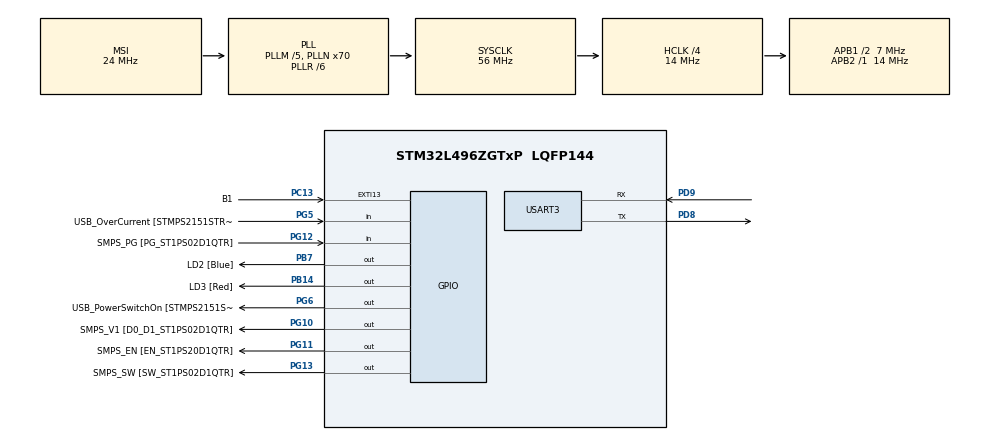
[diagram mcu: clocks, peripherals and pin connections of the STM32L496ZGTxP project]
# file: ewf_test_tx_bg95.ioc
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Mcu.Family=STM32L4
Mcu.Name=STM32L496ZGTxP
Mcu.Package=LQFP144
NVIC.PriorityGroup=NVIC_PRIORITYGROUP_4
NVIC.TIM6_DAC_IRQn=true\:15\:0\:false\:false\:true\:false\:false\:true\:true
NVIC.TimeBase=TIM6_DAC_IRQn
NVIC.TimeBaseIP=TIM6
NVIC.USART3_IRQn=true\:0\:0\:false\:false\:true\:false\:true\:true\:true
PA10.GPIO_Label=USB_ID
PA10.Signal=USB_OTG_FS_ID
PA11.GPIO_Label=USB_DM
PA11.Signal=USB_OTG_FS_DM
PA12.GPIO_Label=USB_DP
PA12.Signal=USB_OTG_FS_DP
PA13\ (JTMS/SWDIO).GPIO_Label=TMS
PA13\ (JTMS/SWDIO).Mode=Trace_Asynchronous_SW
PA13\ (JTMS/SWDIO).Signal=SYS_JTMS-SWDIO
PA14\ (JTCK/SWCLK).GPIO_Label=TCK
PA14\ (JTCK/SWCLK).Mode=Trace_Asynchronous_SW
PA14\ (JTCK/SWCLK).Signal=SYS_JTCK-SWCLK
PA8.GPIO_Label=USB_SOF [TP1]
PA8.Signal=USB_OTG_FS_SOF
PA9.GPIO_Label=USB_VBUS
PA9.Signal=USB_OTG_FS_VBUS
PB14.GPIO_Label=LD3 [Red]
PB14.Signal=GPIO_Output
PB3\ (JTDO/TRACESWO).GPIO_Label=SWO
PB3\ (JTDO/TRACESWO).Mode=Trace_Asynchronous_SW
PB3\ (JTDO/TRACESWO).Signal=SYS_JTDO-SWO
PB7.GPIO_Label=LD2 [Blue]
PB7.Signal=GPIO_Output
PC13.GPIO_Label=B1
PC13.Signal=GPXTI13
PC14-OSC32_IN\ (PC14).Mode=LSE-External-Oscillator
PC14-OSC32_IN\ (PC14).Signal=RCC_OSC32_IN
PC15-OSC32_OUT\ (PC15).Mode=LSE-External-Oscillator
PC15-OSC32_OUT\ (PC15).Signal=RCC_OSC32_OUT
PD8.GPIO_ModeDefaultPP=GPIO_MODE_AF_OD
PD8.GPIO_PuPd=GPIO_PULLUP
PD8.GPIO_Speed=GPIO_SPEED_FREQ_HIGH
PD8.Mode=Asynchronous
PD8.Signal=USART3_TX
PD9.GPIO_ModeDefaultPP=GPIO_MODE_AF_OD
PD9.GPIO_PuPd=GPIO_PULLUP
PD9.GPIO_Speed=GPIO_SPEED_FREQ_HIGH
PD9.Mode=Asynchronous
PD9.Signal=USART3_RX
PG10.GPIO_Label=SMPS_V1 [D0_D1_ST1PS02D1QTR]
PG10.Signal=GPIO_Output
PG11.GPIO_Label=SMPS_EN [EN_ST1PS20D1QTR]
PG11.Signal=GPIO_Output
PG12.GPIO_Label=SMPS_PG [PG_ST1PS02D1QTR]
PG12.Signal=GPIO_Input
PG13.GPIO_Label=SMPS_SW [SW_ST1PS02D1QTR]
PG13.Signal=GPIO_Output
PG5.GPIO_Label=USB_OverCurrent [STMPS2151STR_FAULT]
PG5.Signal=GPIO_Input
PG6.GPIO_Label=USB_PowerSwitchOn [STMPS2151STR_EN]
PG6.Signal=GPIO_Output
PG7.GPIO_Label=STLK_RX [STM32F103CBT6_PA3]
PG7.Signal=LPUART1_TX
PG8.GPIO_Label=STLK_TX [STM32F103CBT6_PA2]
PG8.Signal=LPUART1_RX
PH0-OSC_IN\ (PH0).GPIO_Label=MCO
PH0-OSC_IN\ (PH0).Signal=RCC_OSC_IN
PH1-OSC_OUT\ (PH1).Signal=RCC_OSC_OUT
ProjectManager.HeapSize=0x200
ProjectManager.StackSize=0x400
ProjectManager.TargetToolchain=STM32CubeIDE
RCC.48MHZClocksFreq_Value=24000000
RCC.ADCFreq_Value=48000000
RCC.AHBCLKDivider=RCC_SYSCLK_DIV4
RCC.AHBFreq_Value=14000000
RCC.APB1CLKDivider=RCC_HCLK_DIV2
RCC.APB1Freq_Value=7000000
RCC.APB1TimFreq_Value=14000000
RCC.APB2Freq_Value=14000000
RCC.APB2TimFreq_Value=14000000
RCC.CortexFreq_Value=14000000
RCC.HCLKFreq_Value=14000000
RCC.HSE_VALUE=8000000
RCC.HSI48_VALUE=48000000
RCC.HSI_VALUE=16000000
RCC.MSIAutoCalibration=ENABLED
RCC.MSIClockRange=RCC_MSIRANGE_9
RCC.MSI_VALUE=24000000
RCC.PLLM=5
RCC.PLLMUL=RCC_PLL_MUL9
RCC.PLLN=70
RCC.PLLR=RCC_PLLR_DIV6
RCC.PLLSAI1N=20
RCC.PRESCALERUSB=RCC_USBCLKSOURCE_PLL_DIV1_5
RCC.SYSCLKFreq_VALUE=56000000
RCC.SYSCLKSource=RCC_SYSCLKSOURCE_PLLCLK
RCC.SYSCLKSourceVirtual=RCC_SYSCLKSOURCE_PLLCLK
RCC.USBFreq_Value=48000000
RCC.VCOOutputFreq_Value=336000000
STMicroelectronics.X-CUBE-AZRTOS-L4.1.0.0.TX_APP_MEM_POOL_SIZE=512
STMicroelectronics.X-CUBE-AZRTOS-L4.1.0.0.TX_ENABLE_STACK_CHECKING=1
STMicroelectronics.X-CUBE-AZRTOS-L4.1.0.0.ThreadXCcRTOSJjThreadXJjCore=true
STMicroelectronics.X-CUBE-AZRTOS-L4.1.0.0.ThreadXCcRTOSJjThreadXJjLowOoPowerOosupport=true
STMicroelectronics.X-CUBE-AZRTOS-L4.1.0.0.ThreadXCcRTOSJjThreadXJjPerformanceInfo=true
STMicroelectronics.X-CUBE-AZRTOS-L4.1.0.0.ThreadXCcRTOSJjThreadXJjTraceXOosupport=true
STMicroelectronics.X-CUBE-AZRTOS-L4.1.0.0_IsAnAzureRtosMw=true
USART3.SwapParam=ADVFEATURE_SWAP_DISABLE
USART3.VirtualMode-Asynchronous=VM_ASYNC
VP_STMicroelectronics.X-CUBE-AZRTOS-L4_VS_RTOSJjThreadX_6.1.7_1.0.0.Mode=RTOSJjThreadX
VP_SYS_VS_tim6.Mode=TIM6
board=NUCLEO-L496ZG-P

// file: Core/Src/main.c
/* USER CODE BEGIN Header */
/**
  ******************************************************************************
  * @file           : main.c
  * @brief          : Main program body
  ******************************************************************************
  * @attention
  *
  * Copyright (c) 2022 STMicroelectronics.
  * All rights reserved.
  *
  * This software is licensed under terms that can be found in the LICENSE file
  * in the root directory of this software component.
  * If no LICENSE file comes with this software, it is provided AS-IS.
  *
  ******************************************************************************
  */
/* USER CODE END Header */
#include "main.h"
#include "app_threadx.h"

/* USER CODE BEGIN Includes */

#include <stdio.h>

#include "ewf_lib.c"
#include "ewf_platform_threadx.c"
#include "ewf_allocator.c"
#include "ewf_allocator_threadx.c"
#include "ewf_interface.c"
#include "ewf_interface_stm32_uart.c"
#include "ewf_adapter.c"
#include "ewf_adapter_api_control.c"
#include "ewf_adapter_api_info.c"
#include "ewf_adapter_api_tls_basic.c"
#include "ewf_adapter_api_mqtt_basic.c"
#include "ewf_adapter_api_tcp.c"
#include "ewf_adapter_api_udp.c"
#include "ewf_adapter_api_modem.c"
#include "ewf_adapter_api_modem_general.c"
#include "ewf_adapter_api_modem_network_service.c"
#include "ewf_adapter_api_modem_packet_domain.c"
#include "ewf_adapter_api_modem_sim_utility.c"
#include "ewf_adapter_api_modem_sms.c"
#include "ewf_adapter_quectel_bg95.c"
#include "test/ewf_adapter_quectel_bg95_test.c"

#include "ewf_example.config.h"

/* USER CODE END Includes */

/* USER CODE BEGIN PTD */

#if defined ( __GNUC__) && !defined(__clang__)
/* With GCC, small printf (option LD Linker->Libraries->Small printf
   set to 'Yes') calls __io_putchar() */
#define PUTCHAR_PROTOTYPE int __io_putchar(int ch)
#else
#define PUTCHAR_PROTOTYPE int fputc(int ch, FILE *f)
#endif /* __GNUC__ */

/* USER CODE END PTD */

UART_HandleTypeDef huart3;

void SystemClock_Config(void);
static void MX_GPIO_Init(void);
static void MX_USART3_UART_Init(void);

/* USER CODE BEGIN 0 */

/**
* @brief  Retargets the C library printf function to the USART.
* @param  None
* @retval None
*/

PUTCHAR_PROTOTYPE
{
    /* Place your implementation of fputc here */
    /* e.g. write a character to the USART1 and Loop until the end of transmission */
	ITM_SendChar(ch);
    return ch;
}

void thread_sample_entry(ULONG thread_input)
{
    ewf_result result;

    ewf_allocator* message_allocator_ptr = NULL;
    ewf_interface* interface_ptr = NULL;
    ewf_adapter* adapter_ptr = NULL;

    EWF_LOG("\nStarting...\n");

    EWF_ALLOCATOR_THREADX_STATIC_DECLARE(message_allocator_ptr, message_allocator,
		EWF_CONFIG_MESSAGE_ALLOCATOR_BLOCK_COUNT,
		EWF_CONFIG_MESSAGE_ALLOCATOR_BLOCK_SIZE);
    EWF_INTERFACE_STM32_UART_STATIC_DECLARE(interface_ptr, stm32_uart_port, &huart3);
    EWF_ADAPTER_QUECTEL_BG95_STATIC_DECLARE(adapter_ptr, quectel_bg95, message_allocator_ptr, NULL, interface_ptr);

    // Start the adapter
    if (ewf_result_failed(result = ewf_adapter_start(adapter_ptr)))
    {
        EWF_LOG_ERROR("Failed to start the adapter, ewf_result %d.\n", result);
        exit(result);
    }

    // Set the SIM PIN
    if (ewf_result_failed(result = ewf_adapter_modem_sim_pin_enter(adapter_ptr, EWF_CONFIG_SIM_PIN)))
    {
        EWF_LOG_ERROR("Failed to the SIM PIN, ewf_result %d.\n", result);
        exit(result);
    }

    // Set the ME functionality
    if (ewf_result_failed(result = ewf_adapter_modem_functionality_set(adapter_ptr, EWF_ADAPTER_MODEM_FUNCTIONALITY_FULL)))
    {
        EWF_LOG_ERROR("Failed to the ME functionality, ewf_result %d.\n", result);
        exit(result);
    }

    // Run the adapter tests
    if (ewf_result_failed(result = ewf_adapter_quectel_bg95_test(adapter_ptr)))
    {
        EWF_LOG_ERROR("Failed to run the adapter test, ewf_result %d.\n", result);
    }

    EWF_LOG("\nDone!\n");

    // Stay here forever
    while (1)
    {
    	EWF_LOG(".");
        tx_thread_sleep(TX_TIMER_TICKS_PER_SECOND);
    }
}

/* USER CODE END 0 */

int main(void)
{

  /* MCU Configuration--------------------------------------------------------*/

  /* Reset of all peripherals, Initializes the Flash interface and the Systick. */
  HAL_Init();

  /* Configure the system clock */
  SystemClock_Config();

  /* Initialize all configured peripherals */
  MX_GPIO_Init();
  MX_USART3_UART_Init();

  MX_ThreadX_Init();

  /* We should never get here as control is now taken by the scheduler */
  /* Infinite loop */
  while (1)
  {

  }
}

void SystemClock_Config(void)
{
  RCC_OscInitTypeDef RCC_OscInitStruct = {0};
  RCC_ClkInitTypeDef RCC_ClkInitStruct = {0};

  /** Configure the main internal regulator output voltage
  */
  if (HAL_PWREx_ControlVoltageScaling(PWR_REGULATOR_VOLTAGE_SCALE1) != HAL_OK)
  {
    Error_Handler();
  }

  /** Initializes the RCC Oscillators according to the specified parameters
  * in the RCC_OscInitTypeDef structure.
  */
  RCC_OscInitStruct.OscillatorType = RCC_OSCILLATORTYPE_MSI;
  RCC_OscInitStruct.MSIState = RCC_MSI_ON;
  RCC_OscInitStruct.MSICalibrationValue = 0;
  RCC_OscInitStruct.MSIClockRange = RCC_MSIRANGE_9;
  RCC_OscInitStruct.PLL.PLLState = RCC_PLL_ON;
  RCC_OscInitStruct.PLL.PLLSource = RCC_PLLSOURCE_MSI;
  RCC_OscInitStruct.PLL.PLLM = 5;
  RCC_OscInitStruct.PLL.PLLN = 70;
  RCC_OscInitStruct.PLL.PLLP = RCC_PLLP_DIV2;
  RCC_OscInitStruct.PLL.PLLQ = RCC_PLLQ_DIV2;
  RCC_OscInitStruct.PLL.PLLR = RCC_PLLR_DIV6;
  if (HAL_RCC_OscConfig(&RCC_OscInitStruct) != HAL_OK)
  {
    Error_Handler();
  }

  /** Initializes the CPU, AHB and APB buses clocks
  */
  RCC_ClkInitStruct.ClockType = RCC_CLOCKTYPE_HCLK|RCC_CLOCKTYPE_SYSCLK
                              |RCC_CLOCKTYPE_PCLK1|RCC_CLOCKTYPE_PCLK2;
  RCC_ClkInitStruct.SYSCLKSource = RCC_SYSCLKSOURCE_PLLCLK;
  RCC_ClkInitStruct.AHBCLKDivider = RCC_SYSCLK_DIV4;
  RCC_ClkInitStruct.APB1CLKDivider = RCC_HCLK_DIV2;
  RCC_ClkInitStruct.APB2CLKDivider = RCC_HCLK_DIV1;

  if (HAL_RCC_ClockConfig(&RCC_ClkInitStruct, FLASH_LATENCY_0) != HAL_OK)
  {
    Error_Handler();
  }
}

static void MX_USART3_UART_Init(void)
{

  huart3.Instance = USART3;
  huart3.Init.BaudRate = 115200;
  huart3.Init.WordLength = UART_WORDLENGTH_8B;
  huart3.Init.StopBits = UART_STOPBITS_1;
  huart3.Init.Parity = UART_PARITY_NONE;
  huart3.Init.Mode = UART_MODE_TX_RX;
  huart3.Init.HwFlowCtl = UART_HWCONTROL_NONE;
  huart3.Init.OverSampling = UART_OVERSAMPLING_16;
  huart3.Init.OneBitSampling = UART_ONE_BIT_SAMPLE_DISABLE;
  huart3.AdvancedInit.AdvFeatureInit = UART_ADVFEATURE_NO_INIT;
  if (HAL_UART_Init(&huart3) != HAL_OK)
  {
    Error_Handler();
  }

}

static void MX_GPIO_Init(void)
{
  GPIO_InitTypeDef GPIO_InitStruct = {0};

  /* GPIO Ports Clock Enable */
  __HAL_RCC_GPIOC_CLK_ENABLE();
  __HAL_RCC_GPIOH_CLK_ENABLE();
  __HAL_RCC_GPIOB_CLK_ENABLE();
  __HAL_RCC_GPIOD_CLK_ENABLE();
  __HAL_RCC_GPIOG_CLK_ENABLE();
  HAL_PWREx_EnableVddIO2();
  __HAL_RCC_GPIOA_CLK_ENABLE();

  /*Configure GPIO pin Output Level */
  HAL_GPIO_WritePin(GPIOB, LD3_Pin|LD2_Pin, GPIO_PIN_RESET);

  /*Configure GPIO pin Output Level */
  HAL_GPIO_WritePin(GPIOG, USB_PowerSwitchOn_Pin|SMPS_V1_Pin|SMPS_EN_Pin|SMPS_SW_Pin, GPIO_PIN_RESET);

  /*Configure GPIO pin : B1_Pin */
  GPIO_InitStruct.Pin = B1_Pin;
  GPIO_InitStruct.Mode = GPIO_MODE_IT_RISING;
  GPIO_InitStruct.Pull = GPIO_NOPULL;
  HAL_GPIO_Init(B1_GPIO_Port, &GPIO_InitStruct);

  /*Configure GPIO pins : LD3_Pin LD2_Pin */
  GPIO_InitStruct.Pin = LD3_Pin|LD2_Pin;
  GPIO_InitStruct.Mode = GPIO_MODE_OUTPUT_PP;
  GPIO_InitStruct.Pull = GPIO_NOPULL;
  GPIO_InitStruct.Speed = GPIO_SPEED_FREQ_LOW;
  HAL_GPIO_Init(GPIOB, &GPIO_InitStruct);

  /*Configure GPIO pins : USB_OverCurrent_Pin SMPS_PG_Pin */
  GPIO_InitStruct.Pin = USB_OverCurrent_Pin|SMPS_PG_Pin;
  GPIO_InitStruct.Mode = GPIO_MODE_INPUT;
  GPIO_InitStruct.Pull = GPIO_NOPULL;
  HAL_GPIO_Init(GPIOG, &GPIO_InitStruct);

  /*Configure GPIO pins : USB_PowerSwitchOn_Pin SMPS_V1_Pin SMPS_EN_Pin SMPS_SW_Pin */
  GPIO_InitStruct.Pin = USB_PowerSwitchOn_Pin|SMPS_V1_Pin|SMPS_EN_Pin|SMPS_SW_Pin;
  GPIO_InitStruct.Mode = GPIO_MODE_OUTPUT_PP;
  GPIO_InitStruct.Pull = GPIO_NOPULL;
  GPIO_InitStruct.Speed = GPIO_SPEED_FREQ_LOW;
  HAL_GPIO_Init(GPIOG, &GPIO_InitStruct);

  /*Configure GPIO pins : STLK_RX_Pin STLK_TX_Pin */
  GPIO_InitStruct.Pin = STLK_RX_Pin|STLK_TX_Pin;
  GPIO_InitStruct.Mode = GPIO_MODE_AF_PP;
  GPIO_InitStruct.Pull = GPIO_NOPULL;
  GPIO_InitStruct.Speed = GPIO_SPEED_FREQ_VERY_HIGH;
  GPIO_InitStruct.Alternate = GPIO_AF8_LPUART1;
  HAL_GPIO_Init(GPIOG, &GPIO_InitStruct);

  /*Configure GPIO pins : USB_SOF_Pin USB_ID_Pin USB_DM_Pin USB_DP_Pin */
  GPIO_InitStruct.Pin = USB_SOF_Pin|USB_ID_Pin|USB_DM_Pin|USB_DP_Pin;
  GPIO_InitStruct.Mode = GPIO_MODE_AF_PP;
  GPIO_InitStruct.Pull = GPIO_NOPULL;
  GPIO_InitStruct.Speed = GPIO_SPEED_FREQ_VERY_HIGH;
  GPIO_InitStruct.Alternate = GPIO_AF10_OTG_FS;
  HAL_GPIO_Init(GPIOA, &GPIO_InitStruct);

}

void HAL_TIM_PeriodElapsedCallback(TIM_HandleTypeDef *htim)
{
  if (htim->Instance == TIM6) {
    HAL_IncTick();
  }
}

void Error_Handler(void)
{
  __disable_irq();
  while (1)
  {
  }
}
